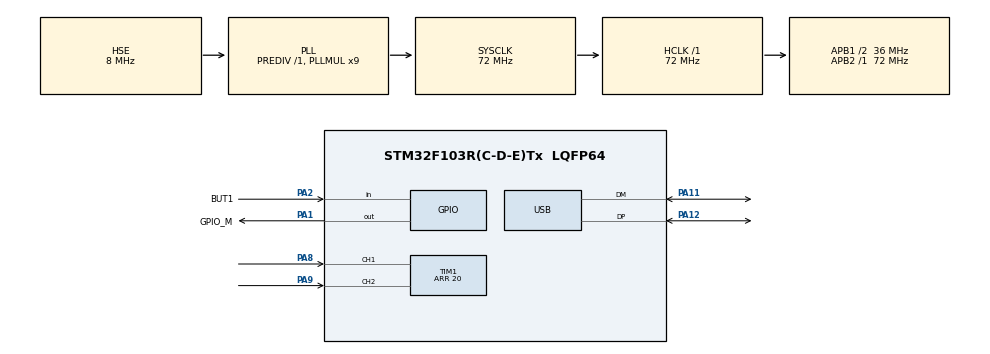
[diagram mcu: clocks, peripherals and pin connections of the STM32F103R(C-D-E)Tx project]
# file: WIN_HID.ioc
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Mcu.Family=STM32F1
Mcu.Name=STM32F103R(C-D-E)Tx
Mcu.Package=LQFP64
NVIC.PriorityGroup=NVIC_PRIORITYGROUP_4
NVIC.USB_LP_CAN1_RX0_IRQn=true\:0\:0\:false\:false\:true\:false\:true
PA1.GPIO_Label=GPIO_M
PA1.GPIO_ModeDefaultOutputPP=GPIO_MODE_OUTPUT_PP
PA1.GPIO_PuPd=GPIO_PULLUP
PA1.Signal=GPIO_Output
PA11.Mode=Device
PA11.Signal=USB_DM
PA12.Mode=Device
PA12.Signal=USB_DP
PA13.Mode=Serial_Wire
PA13.Signal=SYS_JTMS-SWDIO
PA14.Mode=Serial_Wire
PA14.Signal=SYS_JTCK-SWCLK
PA2.GPIO_Label=BUT1
PA2.GPIO_PuPd=GPIO_PULLUP
PA2.Signal=GPIO_Input
PA8.Signal=S_TIM1_CH1
PA9.GPIO_Mode=GPIO_MODE_INPUT
PA9.GPIO_PuPd=GPIO_NOPULL
PA9.Signal=S_TIM1_CH2
PC14-OSC32_IN.Mode=LSE-External-Oscillator
PC14-OSC32_IN.Signal=RCC_OSC32_IN
PC15-OSC32_OUT.Mode=LSE-External-Oscillator
PC15-OSC32_OUT.Signal=RCC_OSC32_OUT
PD0-OSC_IN.Mode=HSE-External-Oscillator
PD0-OSC_IN.Signal=RCC_OSC_IN
PD1-OSC_OUT.Mode=HSE-External-Oscillator
PD1-OSC_OUT.Signal=RCC_OSC_OUT
ProjectManager.HeapSize=0x200
ProjectManager.StackSize=0x400
ProjectManager.TargetToolchain=MDK-ARM V5.27
RCC.AHBFreq_Value=72000000
RCC.APB1CLKDivider=RCC_HCLK_DIV2
RCC.APB1Freq_Value=36000000
RCC.APB1TimFreq_Value=72000000
RCC.APB2Freq_Value=72000000
RCC.APB2TimFreq_Value=72000000
RCC.HCLKFreq_Value=72000000
RCC.PLLMUL=RCC_PLL_MUL9
RCC.SYSCLKFreq_VALUE=72000000
RCC.SYSCLKSource=RCC_SYSCLKSOURCE_PLLCLK
RCC.USBFreq_Value=48000000
RCC.USBPrescaler=RCC_USBCLKSOURCE_PLL_DIV1_5
SH.S_TIM1_CH1.0=TIM1_CH1,Encoder_Interface
SH.S_TIM1_CH2.0=TIM1_CH2,Encoder_Interface
TIM1.Period=20
USB_DEVICE.CLASS_NAME_FS=HID
USB_DEVICE.PID_HID_FS=1033
USB_DEVICE.VID=0x16c0
USB_DEVICE.VirtualMode=Hid
USB_DEVICE.VirtualModeFS=Hid_FS
VP_USB_DEVICE_VS_USB_DEVICE_HID_FS.Mode=HID_FS
board=custom

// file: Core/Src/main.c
/* USER CODE BEGIN Header */
/**
  ******************************************************************************
  * @file           : main.c
  * @brief          : Main program body
  ******************************************************************************
  * @attention
  *
  * <h2><center>&copy; Copyright (c) 2021 STMicroelectronics.
  * All rights reserved.</center></h2>
  *
  * This software component is licensed by ST under Ultimate Liberty license
  * SLA0044, the "License"; You may not use this file except in compliance with
  * the License. You may obtain a copy of the License at:
  *                             www.st.com/SLA0044
  *
  ******************************************************************************
  */
/* USER CODE END Header */
#include "main.h"
#include "tim.h"
#include "usb_device.h"
#include "gpio.h"

/* USER CODE BEGIN Includes */
#include "usbd_hid.h"
/* USER CODE END Includes */

/* USER CODE BEGIN PV */
uint16_t enc_last,enc_now;
uint8_t enc_cw = 2;
uint8_t HID_Buffer[3]={0x00};
uint8_t press_flag=0x00;
extern USBD_HandleTypeDef hUsbDeviceFS;
/* USER CODE END PV */

void SystemClock_Config(void);

int main(void)
{

  /* MCU Configuration--------------------------------------------------------*/

  /* Reset of all peripherals, Initializes the Flash interface and the Systick. */
  HAL_Init();

  /* Configure the system clock */
  SystemClock_Config();

  /* Initialize all configured peripherals */
  MX_GPIO_Init();
  MX_TIM1_Init();
  MX_USB_DEVICE_Init();
  /* USER CODE BEGIN 2 */
	HAL_TIM_Encoder_Start(&htim1, TIM_CHANNEL_ALL);
  /* USER CODE END 2 */

\
  /* Infinite loop */
  /* USER CODE BEGIN WHILE */
  while (1)
  {
    enc_now= (uint32_t)(__HAL_TIM_GET_COUNTER(&htim1));

		if(  enc_now!=0  )
			enc_cw = __HAL_TIM_IS_TIM_COUNTING_DOWN(&htim1);
		else
			enc_cw = 2;
		//enc_last = enc_now;

		if( enc_cw == 0 && press_flag == 0x00 )
		{
			HID_Buffer[0] = 0x0A;
			HID_Buffer[1] = 0x3C;
			HID_Buffer[2] = 0x00;
			USBD_HID_SendReport(&hUsbDeviceFS, (uint8_t*)HID_Buffer, 3);
			HAL_GPIO_WritePin(GPIO_M_GPIO_Port, GPIO_M_Pin, GPIO_PIN_SET);
      enc_cw = 2;
//			HAL_Delay(2);
//			HAL_GPIO_WritePin(GPIO_M_GPIO_Port, GPIO_M_Pin, GPIO_PIN_RESET);
		}
		else if( enc_cw == 1 && press_flag == 0x00 )
		{
			HID_Buffer[0] = 0x0A;
			HID_Buffer[1] = 0xC4;
			HID_Buffer[2] = 0xFF;
			USBD_HID_SendReport(&hUsbDeviceFS, (uint8_t*)HID_Buffer, 3);
//			HAL_GPIO_WritePin(GPIO_M_GPIO_Port, GPIO_M_Pin, GPIO_PIN_SET);
//			HAL_Delay(2);
			HAL_GPIO_WritePin(GPIO_M_GPIO_Port, GPIO_M_Pin, GPIO_PIN_RESET);
     enc_cw = 2;
		}
		if( HAL_GPIO_ReadPin(BUT1_GPIO_Port,BUT1_Pin) == 0 && press_flag == 0x00 )
		{
			HID_Buffer[0] = 0x0A;
			HID_Buffer[1] = 0x01;
			HID_Buffer[2] = 0x00;
			press_flag = 0xff;
			USBD_HID_SendReport(&hUsbDeviceFS, (uint8_t*)HID_Buffer, 3);
		}
		else if( HAL_GPIO_ReadPin(BUT1_GPIO_Port,BUT1_Pin) == 1 && press_flag == 0xff )
		{
			HID_Buffer[0] = 0x0A;
			HID_Buffer[1] = 0x00;
			HID_Buffer[2] = 0x00;
			press_flag = 0x00;
			USBD_HID_SendReport(&hUsbDeviceFS, (uint8_t*)HID_Buffer, 3);
		}
    /* USER CODE END WHILE */

  }
}

void SystemClock_Config(void)
{
  RCC_OscInitTypeDef RCC_OscInitStruct = {0};
  RCC_ClkInitTypeDef RCC_ClkInitStruct = {0};
  RCC_PeriphCLKInitTypeDef PeriphClkInit = {0};

  /** Initializes the RCC Oscillators according to the specified parameters
  * in the RCC_OscInitTypeDef structure.
  */
  RCC_OscInitStruct.OscillatorType = RCC_OSCILLATORTYPE_HSE;
  RCC_OscInitStruct.HSEState = RCC_HSE_ON;
  RCC_OscInitStruct.HSEPredivValue = RCC_HSE_PREDIV_DIV1;
  RCC_OscInitStruct.HSIState = RCC_HSI_ON;
  RCC_OscInitStruct.PLL.PLLState = RCC_PLL_ON;
  RCC_OscInitStruct.PLL.PLLSource = RCC_PLLSOURCE_HSE;
  RCC_OscInitStruct.PLL.PLLMUL = RCC_PLL_MUL9;
  if (HAL_RCC_OscConfig(&RCC_OscInitStruct) != HAL_OK)
  {
    Error_Handler();
  }
  /** Initializes the CPU, AHB and APB buses clocks
  */
  RCC_ClkInitStruct.ClockType = RCC_CLOCKTYPE_HCLK|RCC_CLOCKTYPE_SYSCLK
                              |RCC_CLOCKTYPE_PCLK1|RCC_CLOCKTYPE_PCLK2;
  RCC_ClkInitStruct.SYSCLKSource = RCC_SYSCLKSOURCE_PLLCLK;
  RCC_ClkInitStruct.AHBCLKDivider = RCC_SYSCLK_DIV1;
  RCC_ClkInitStruct.APB1CLKDivider = RCC_HCLK_DIV2;
  RCC_ClkInitStruct.APB2CLKDivider = RCC_HCLK_DIV1;

  if (HAL_RCC_ClockConfig(&RCC_ClkInitStruct, FLASH_LATENCY_2) != HAL_OK)
  {
    Error_Handler();
  }
  PeriphClkInit.PeriphClockSelection = RCC_PERIPHCLK_USB;
  PeriphClkInit.UsbClockSelection = RCC_USBCLKSOURCE_PLL_DIV1_5;
  if (HAL_RCCEx_PeriphCLKConfig(&PeriphClkInit) != HAL_OK)
  {
    Error_Handler();
  }
}

void Error_Handler(void)
{
  __disable_irq();
  while (1)
  {
  }
}

/************************ (C) COPYRIGHT STMicroelectronics *****END OF FILE****/
